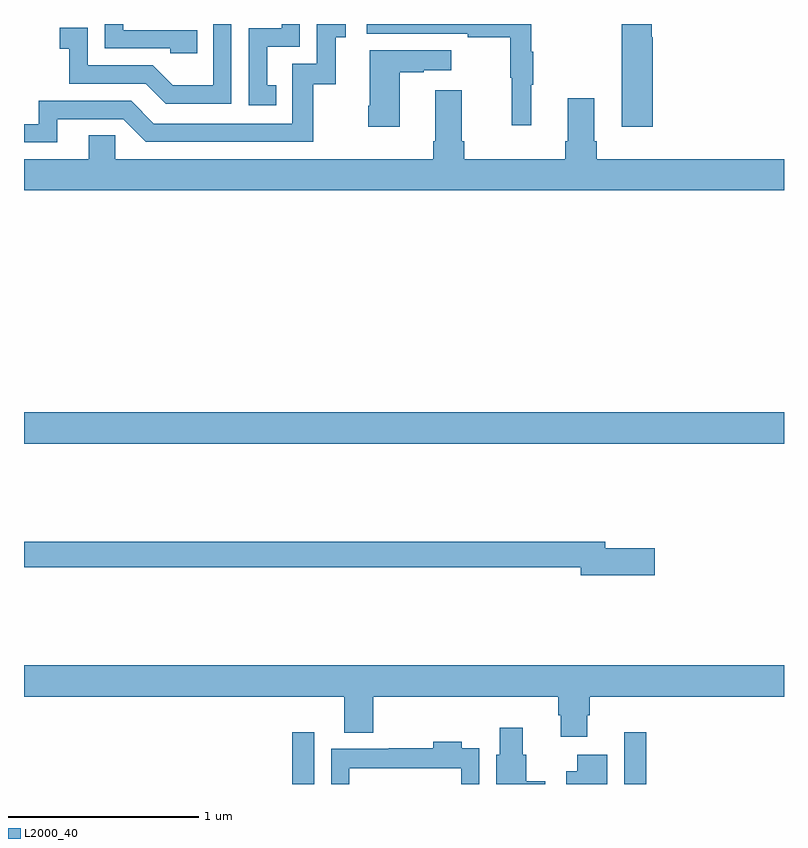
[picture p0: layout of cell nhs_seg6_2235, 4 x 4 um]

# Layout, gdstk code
import gdstk
lib = gdstk.Library(unit=1e-6, precision=1e-09)
def R(c, l, rs):  # rectangles x0, y0, x1, y1
    for r in rs: c.add(gdstk.rectangle(r[:2], r[2:], *l))
def P(c, l, *ps):  # polygons
    for p in ps: c.add(gdstk.Polygon(p, *l))
L2000_40 = (2000, 40)

nhs_seg6_2235 = lib.new_cell('nhs_seg6_2235')
R(nhs_seg6_2235, L2000_40, [(244.411,989.5,244.527,989.773), (246.159,989.5,246.275,989.773), (243,991.292,247,991.456)])
P(nhs_seg6_2235, L2000_40, [(243.911,993.468),(243.522,993.468),(243.522,993.5),(243.426,993.5),(243.426,993.372),(243.771,993.372),(243.771,993.345),(243.911,993.345)],
  [(243.175,993),(243.522,993),(243.642,992.88),(244.522,992.88),(244.522,993.183),(244.64,993.183),(244.64,993.429),(244.693,993.429),(244.693,993.5),(244.542,993.5),(244.542,993.291),(244.413,993.291),(244.413,992.976),(243.684,992.976),(243.564,993.096),(243.078,993.096),(243.078,992.973),(243,992.973),(243,992.877),(243.175,992.877)],
  [(244.328,993.177),(244.279,993.177),(244.279,993.381),(244.452,993.381),(244.452,993.5),(244.356,993.5),(244.356,993.477),(244.182,993.477),(244.182,993.072),(244.328,993.072)],
  [(244.092,993.5),(243.996,993.5),(243.996,993.178),(243.782,993.178),(243.678,993.282),(243.336,993.282),(243.336,993.481),(243.189,993.481),(243.189,993.371),(243.238,993.371),(243.238,993.186),(243.641,993.186),(243.746,993.081),(244.092,993.081)],
  [(245.669,993.179),(245.68,993.179),(245.68,993.353),(245.669,993.353),(245.669,993.5),(244.803,993.5),(244.803,993.45),(245.335,993.45),(245.335,993.43),(245.559,993.43),(245.559,993.216),(245.566,993.216),(245.566,992.967),(245.669,992.967)],
  [(246.31,993.429),(246.305,993.429),(246.305,993.5),(246.146,993.5),(246.146,992.958),(246.31,992.958)],
  [(244.978,993.247),(245.105,993.247),(245.105,993.257),(245.248,993.257),(245.248,993.361),(244.82,993.361),(244.82,993.07),(244.813,993.07),(244.813,992.958),(244.978,992.958)],
  [(247,992.788),(246.014,992.788),(246.014,992.884),(246.001,992.884),(246.001,993.109),(245.861,993.109),(245.861,992.884),(245.849,992.884),(245.849,992.788),(245.318,992.788),(245.318,992.884),(245.305,992.884),(245.305,993.151),(245.165,993.151),(245.165,992.884),(245.153,992.884),(245.153,992.788),(243.48,992.788),(243.48,992.915),(243.341,992.915),(243.341,992.788),(243,992.788),(243,992.624),(247,992.624)],
  [(246.319,990.74),(246.058,990.74),(246.058,990.776),(243,990.776),(243,990.64),(245.93,990.64),(245.93,990.598),(246.319,990.598)],
  [(245.965,989.862),(245.978,989.862),(245.978,989.96),(247,989.96),(247,990.124),(243,990.124),(243,989.96),(244.685,989.96),(244.685,989.771),(244.838,989.771),(244.838,989.96),(245.813,989.96),(245.813,989.862),(245.825,989.862),(245.825,989.748),(245.965,989.748)],
  [(245.743,989.514),(245.644,989.514),(245.644,989.655),(245.626,989.655),(245.626,989.797),(245.504,989.797),(245.504,989.655),(245.486,989.655),(245.486,989.5),(245.743,989.5)],
  [(244.713,989.582),(245.301,989.582),(245.301,989.5),(245.397,989.5),(245.397,989.689),(245.305,989.689),(245.305,989.722),(245.153,989.722),(245.153,989.689),(244.921,989.689),(244.921,989.686),(244.617,989.686),(244.617,989.5),(244.713,989.5)],
  [(246.07,989.653),(245.912,989.653),(245.912,989.566),(245.855,989.566),(245.855,989.5),(246.07,989.5)])

lib.write_gds('nhs_seg6_2235.gds')
